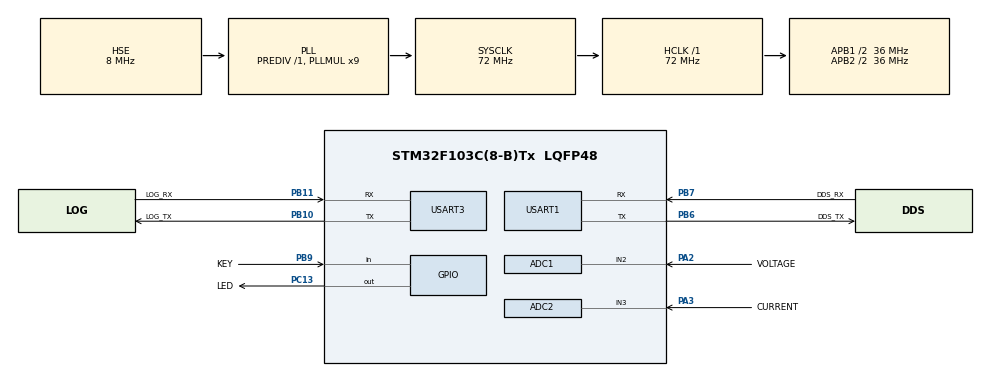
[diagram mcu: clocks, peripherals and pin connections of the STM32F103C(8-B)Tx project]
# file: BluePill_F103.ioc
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ADC1.Channel-0\#ChannelRegularConversion=ADC_CHANNEL_2
ADC1.ContinuousConvMode=ENABLE
ADC1.EnableInjectedConversion=DISABLE
ADC1.InjNumberOfConversion=0
ADC1.Mode=ADC_DUALMODE_REGSIMULT
ADC1.NbrOfConversionFlag=1
ADC1.Rank-0\#ChannelRegularConversion=1
ADC1.SamplingTime-0\#ChannelRegularConversion=ADC_SAMPLETIME_1CYCLE_5
ADC1.master=1
ADC2.Channel-1\#ChannelRegularConversion=ADC_CHANNEL_3
ADC2.ContinuousConvMode=ENABLE
ADC2.Mode=ADC_DUALMODE_REGSIMULT
ADC2.NbrOfConversionFlag=1
ADC2.Rank-1\#ChannelRegularConversion=1
ADC2.SamplingTime-1\#ChannelRegularConversion=ADC_SAMPLETIME_1CYCLE_5
Dma.ADC1.0.Direction=DMA_PERIPH_TO_MEMORY
Dma.ADC1.0.Instance=DMA1_Channel1
Dma.ADC1.0.MemDataAlignment=DMA_MDATAALIGN_WORD
Dma.ADC1.0.MemInc=DMA_MINC_ENABLE
Dma.ADC1.0.Mode=DMA_CIRCULAR
Dma.ADC1.0.PeriphDataAlignment=DMA_PDATAALIGN_WORD
Dma.ADC1.0.PeriphInc=DMA_PINC_DISABLE
Dma.ADC1.0.Priority=DMA_PRIORITY_VERY_HIGH
Dma.Request0=ADC1
Mcu.Family=STM32F1
Mcu.Name=STM32F103C(8-B)Tx
Mcu.Package=LQFP48
NVIC.DMA1_Channel1_IRQn=true\:0\:0\:false\:false\:true\:false\:true\:true
NVIC.PriorityGroup=NVIC_PRIORITYGROUP_4
PA13.Mode=Serial_Wire
PA13.Signal=SYS_JTMS-SWDIO
PA14.Mode=Serial_Wire
PA14.Signal=SYS_JTCK-SWCLK
PA2.GPIO_Label=VOLTAGE
PA2.Signal=ADCx_IN2
PA3.GPIO_Label=CURRENT
PA3.Signal=ADCx_IN3
PB10.GPIO_Label=LOG_TX
PB10.Mode=Asynchronous
PB10.Signal=USART3_TX
PB11.GPIO_Label=LOG_RX
PB11.Mode=Asynchronous
PB11.Signal=USART3_RX
PB6.GPIO_Label=DDS_TX
PB6.Mode=Asynchronous
PB6.Signal=USART1_TX
PB7.GPIO_Label=DDS_RX
PB7.Mode=Asynchronous
PB7.Signal=USART1_RX
PB9.GPIO_Label=KEY
PB9.GPIO_PuPd=GPIO_PULLUP
PB9.Signal=GPIO_Input
PC13-TAMPER-RTC.GPIO_Label=LED
PC13-TAMPER-RTC.Signal=GPIO_Output
PD0-OSC_IN.Mode=HSE-External-Oscillator
PD0-OSC_IN.Signal=RCC_OSC_IN
PD1-OSC_OUT.Mode=HSE-External-Oscillator
PD1-OSC_OUT.Signal=RCC_OSC_OUT
ProjectManager.HeapSize=0x200
ProjectManager.StackSize=0x400
ProjectManager.TargetToolchain=MDK-ARM V5.32
RCC.ADCPresc=RCC_ADCPCLK2_DIV6
RCC.AHBFreq_Value=72000000
RCC.APB1CLKDivider=RCC_HCLK_DIV2
RCC.APB1Freq_Value=36000000
RCC.APB1TimFreq_Value=72000000
RCC.APB2CLKDivider=RCC_HCLK_DIV2
RCC.APB2Freq_Value=36000000
RCC.APB2TimFreq_Value=72000000
RCC.HCLKFreq_Value=72000000
RCC.PLLMUL=RCC_PLL_MUL9
RCC.PLLSourceVirtual=RCC_PLLSOURCE_HSE
RCC.SYSCLKFreq_VALUE=72000000
RCC.SYSCLKSource=RCC_SYSCLKSOURCE_PLLCLK
RCC.USBFreq_Value=72000000
SH.ADCx_IN2.0=ADC1_IN2,IN2
SH.ADCx_IN3.0=ADC2_IN3,IN3
USART1.VirtualMode=VM_ASYNC
USART3.VirtualMode=VM_ASYNC
board=custom

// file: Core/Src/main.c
/* USER CODE BEGIN Header */
/**
  ******************************************************************************
  * @file           : main.c
  * @brief          : Main program body
  ******************************************************************************
  * @attention
  *
  * Copyright (c) 2026 STMicroelectronics.
  * All rights reserved.
  *
  * This software is licensed under terms that can be found in the LICENSE file
  * in the root directory of this software component.
  * If no LICENSE file comes with this software, it is provided AS-IS.
  *
  ******************************************************************************
  */
/* USER CODE END Header */
#include "main.h"

/* USER CODE BEGIN Includes */
#include <stdbool.h>
#include <stdio.h>
#include <string.h>
#include "../../DDS/dds.h"
/* USER CODE END Includes */

ADC_HandleTypeDef hadc1;
ADC_HandleTypeDef hadc2;
DMA_HandleTypeDef hdma_adc1;

UART_HandleTypeDef huart1;
UART_HandleTypeDef huart3;

/* USER CODE BEGIN PV */
#define AMPLITUDE   3.30 // Volt
#define FREQ_START  500
#define FREQ_STOP   200000
#define FREQ_STEP   500

#define ADC_BIG_DATA_BUF_SIZE    1000 // 4285 // 1742u // 30468u

typedef enum
{
  MODE_PGM_START,
  MODE_DDS_ON,
  MODE_ADC_COLLECTING,
  MODE_ADC_COLLECT_STOP,
  MODE_USB_TX_START,
  MODE_USB_TX,
  MODE_STOP
} work_modes_t;

// номера АЦП каналов в массиве AdcDmaDataBuf
//enum
//{
//  ADC_IN_0 = 0,
//  ADC_IN_1 = 1,
//  ADC_DATA_BUF_SIZE
//};

//typedef struct
//{
//  uint16_t data[ADC_DATA_BUF_SIZE];
//} adc_channels_array_t;

// структура массива данных
//typedef struct
//{
//  adc_channels_array_t channels[ADC_BIG_DATA_BUF_SIZE];
//  uint32_t channel_index;
//} adc_big_array_t;

uint32_t DataBuf[ADC_BIG_DATA_BUF_SIZE];

work_modes_t WorkMode;
uint32_t DataCollectTime;
//volatile uint16_t DmaData[ADC_DATA_BUF_SIZE];
//volatile adc_big_array_t AdcBigDataBuf;

bool DataCollecionIsStarted = false;
/* USER CODE END PV */

void SystemClock_Config(void);
static void MX_GPIO_Init(void);
static void MX_DMA_Init(void);
static void MX_ADC1_Init(void);
static void MX_USART1_UART_Init(void);
static void MX_USART3_UART_Init(void);
static void MX_ADC2_Init(void);
/* USER CODE BEGIN PFP */
// ----------------------------------------------------------------------------
// старт преобразования каналов АЦП
void AdcStartConversion(void)
{
  HAL_ADC_Start(&hadc2);
  HAL_ADCEx_MultiModeStart_DMA(&hadc1, DataBuf, ADC_BIG_DATA_BUF_SIZE);
//  HAL_ADC_Start_DMA(&hadc1, (uint32_t*)DmaData, ADC_DATA_BUF_SIZE);
}
// ----------------------------------------------------------------------------
// запуск заполнения массива данными
void StartDataCollection(void)
{
  if(DataCollecionIsStarted == true)
    return;

  DataCollecionIsStarted = true;
//  AdcBigDataBuf.channel_index = 0;

  DataCollectTime = HAL_GetTick();
  AdcStartConversion();
}
// ----------------------------------------------------------------------------
//void HAL_ADC_ConvHalfCpltCallback(ADC_HandleTypeDef* hadc)
//{
////  AdcStartConversion();
//  HAL_GPIO_TogglePin(GPIOA, GPIO_PIN_9);
//}
void HAL_ADC_ConvCpltCallback(ADC_HandleTypeDef *hadc)
{
  HAL_ADCEx_MultiModeStop_DMA(&hadc1);
//  HAL_ADC_Stop_DMA(&hadc1);
  if(DataCollecionIsStarted)
    AdcStartConversion();

//  AdcBigDataBuf.channels[AdcBigDataBuf.channel_index].data[0] = DmaData[0];
//  AdcBigDataBuf.channels[AdcBigDataBuf.channel_index].data[1] = DmaData[1];

//  AdcBigDataBuf.channel_index++;
//  if(AdcBigDataBuf.channel_index == ADC_BIG_DATA_BUF_SIZE)
  {
    DataCollectTime = HAL_GetTick() - DataCollectTime;
    DataCollecionIsStarted = false;
  }
  HAL_GPIO_TogglePin(GPIOA, GPIO_PIN_9);
}
// ----------------------------------------------------------------------------
void UartSendData(uint8_t *data, uint16_t len)
{
  HAL_UART_Transmit(&huart1, data, len, 100);
  HAL_Delay(200);
}
// ----------------------------------------------------------------------------
void DdsGenSetup(void)
{
  t_dds_init init;

  init.send_data = UartSendData;

  DdsInit(&init);

  DdsChannelOff(DDS_CHANNEL_1);
  DdsChannelOff(DDS_CHANNEL_2);
  DdsChannelOff(DDS_CHANNEL_3);
}
// ----------------------------------------------------------------------------
void LedSwitch(bool on)
{ HAL_GPIO_WritePin(LED_GPIO_Port, LED_Pin, (on)?(GPIO_PIN_RESET):(GPIO_PIN_SET)); }
// ----------------------------------------------------------------------------
/* USER CODE END PFP */

/* USER CODE BEGIN 0 */
#define USB_TX_BUF_SIZE    100u
/* USER CODE END 0 */

int main(void)
{

  /* USER CODE BEGIN 1 */
  char usb_tx_buf[USB_TX_BUF_SIZE];
  uint32_t usb_tx_data_index;
  uint32_t freq = FREQ_START;
  /* USER CODE END 1 */

  /* MCU Configuration--------------------------------------------------------*/

  /* Reset of all peripherals, Initializes the Flash interface and the Systick. */
  HAL_Init();

  /* Configure the system clock */
  SystemClock_Config();

  /* Initialize all configured peripherals */
  MX_GPIO_Init();
  MX_DMA_Init();
  MX_ADC1_Init();
  MX_USART1_UART_Init();
  MX_USART3_UART_Init();
  MX_ADC2_Init();
  /* USER CODE BEGIN 2 */
  DdsGenSetup();

  WorkMode = MODE_PGM_START;

  sprintf(usb_tx_buf, "Program start.\r\n");
  HAL_UART_Transmit(&huart3, (uint8_t*)usb_tx_buf, strlen(usb_tx_buf), 100);
  /* USER CODE END 2 */

  /* Infinite loop */
  /* USER CODE BEGIN WHILE */
  while(1)
  {
    switch(WorkMode)
    {
      case MODE_PGM_START:
        LedSwitch(true);
        if(HAL_GPIO_ReadPin(KEY_GPIO_Port, KEY_Pin) == GPIO_PIN_RESET)
        {
          LedSwitch(false);
          HAL_Delay(500);
          WorkMode = MODE_DDS_ON;
        }
        break;
      case MODE_DDS_ON:
          DdsChannelSetFreq(DDS_CHANNEL_1, freq);
//          DdsChannelSetAmpl(DDS_CHANNEL_1, AMPLITUDE);
          DdsChannelOn(DDS_CHANNEL_1);

          HAL_Delay(100); // ждём чтобы генератор нормально включился
          StartDataCollection();
          LedSwitch(false);
          WorkMode = MODE_ADC_COLLECTING;
        break;
      case MODE_ADC_COLLECTING:
        if(!DataCollecionIsStarted)
        {
          DdsChannelOff(DDS_CHANNEL_1);
          WorkMode = MODE_ADC_COLLECT_STOP;
        }
        break;
      case MODE_ADC_COLLECT_STOP:
        usb_tx_data_index = 0;
        LedSwitch(false);
        WorkMode = MODE_USB_TX_START;
        break;
      case MODE_USB_TX_START:
        usb_tx_data_index = 0;
        sprintf(usb_tx_buf, "{\"freq\":%d,\"data\":[", freq);
//        while( CDC_Transmit_FS((uint8_t*)usb_tx_buf, strlen(usb_tx_buf)) != USBD_OK){}
        HAL_UART_Transmit(&huart3, (uint8_t*)usb_tx_buf, strlen(usb_tx_buf), 100);
        WorkMode = MODE_USB_TX;
        break;
      case MODE_USB_TX:
        LedSwitch(true);

        if( usb_tx_data_index == 0)
        {
          sprintf(usb_tx_buf, "[%d,%d]",
            (DataBuf[usb_tx_data_index] & 0xFFFF), // AdcBigDataBuf.channels[usb_tx_data_index].data[ADC_IN_0],
            (DataBuf[usb_tx_data_index] >> 16)); // AdcBigDataBuf.channels[usb_tx_data_index].data[ADC_IN_1]);
//            AdcBigDataBuf.channels[usb_tx_data_index].data[ADC_IN_0],
//            AdcBigDataBuf.channels[usb_tx_data_index].data[ADC_IN_1]);
        }
        else
        {
          sprintf(usb_tx_buf, ",[%d,%d]",
            (DataBuf[usb_tx_data_index] & 0xFFFF),
            (DataBuf[usb_tx_data_index] >> 16));
//            AdcBigDataBuf.channels[usb_tx_data_index].data[ADC_IN_0],
//            AdcBigDataBuf.channels[usb_tx_data_index].data[ADC_IN_1]);
        }

//        while( CDC_Transmit_FS((uint8_t*)usb_tx_buf, strlen(usb_tx_buf)) != USBD_OK){}
        HAL_UART_Transmit(&huart3, (uint8_t*)usb_tx_buf, strlen(usb_tx_buf), 100);
        usb_tx_data_index++;
        if(usb_tx_data_index >= ADC_BIG_DATA_BUF_SIZE)
        {
          usb_tx_data_index = 0;

//          USBD_CDC_HandleTypeDef *hcdc = (USBD_CDC_HandleTypeDef*)hUsbDeviceFS.pClassData;
//          while(hcdc->TxState != 0) {}
          sprintf(usb_tx_buf, "]}\r\n");
//          CDC_Transmit_FS((uint8_t*)usb_tx_buf, strlen(usb_tx_buf));
          HAL_UART_Transmit(&huart3, (uint8_t*)usb_tx_buf, strlen(usb_tx_buf), 100);
          if(freq < FREQ_STOP)
          {
            freq += FREQ_STEP;
            WorkMode = MODE_DDS_ON;
          }
          else
          {
            freq = FREQ_START;
            WorkMode = MODE_STOP;
          }
        }

//        sprintf(usb_tx_buf, "{\"TIME_STAMP\":%d,\"freq\":%d,\"Ch0\":%d,\"Ch1\":%d}\r\n",
//                usb_tx_data_index,
//                freq,
//                AdcBigDataBuf.channels[usb_tx_data_index].data[ADC_IN_0],
//                AdcBigDataBuf.channels[usb_tx_data_index].data[ADC_IN_1]);
//        if( CDC_Transmit_FS((uint8_t*)usb_tx_buf, strlen(usb_tx_buf)) == USBD_OK)
//        {
//          usb_tx_data_index++;
//          if(usb_tx_data_index >= ADC_BIG_DATA_BUF_SIZE)
//          {
//            usb_tx_data_index = 0;

//            USBD_CDC_HandleTypeDef *hcdc = (USBD_CDC_HandleTypeDef*)hUsbDeviceFS.pClassData;
//            while(hcdc->TxState != 0) {}
//            sprintf(usb_tx_buf, "---------------------------------------\r\n");
//            CDC_Transmit_FS((uint8_t*)usb_tx_buf, strlen(usb_tx_buf));

//            if(freq < FREQ_STOP)
//            {
//              freq += FREQ_STEP;
//              WorkMode = MODE_DDS_ON;
//            }
//            else
//            {
//              freq = FREQ_START;
//              WorkMode = MODE_STOP;
//            }
//          }
//        }
        break;
      case MODE_STOP:
        WorkMode = MODE_PGM_START;
        break;
      default:
        WorkMode = MODE_PGM_START;
        break;
    }

    /* USER CODE END WHILE */

  }
}

void SystemClock_Config(void)
{
  RCC_OscInitTypeDef RCC_OscInitStruct = {0};
  RCC_ClkInitTypeDef RCC_ClkInitStruct = {0};
  RCC_PeriphCLKInitTypeDef PeriphClkInit = {0};

  /** Initializes the RCC Oscillators according to the specified parameters
  * in the RCC_OscInitTypeDef structure.
  */
  RCC_OscInitStruct.OscillatorType = RCC_OSCILLATORTYPE_HSE;
  RCC_OscInitStruct.HSEState = RCC_HSE_ON;
  RCC_OscInitStruct.HSEPredivValue = RCC_HSE_PREDIV_DIV1;
  RCC_OscInitStruct.HSIState = RCC_HSI_ON;
  RCC_OscInitStruct.PLL.PLLState = RCC_PLL_ON;
  RCC_OscInitStruct.PLL.PLLSource = RCC_PLLSOURCE_HSE;
  RCC_OscInitStruct.PLL.PLLMUL = RCC_PLL_MUL9;
  if (HAL_RCC_OscConfig(&RCC_OscInitStruct) != HAL_OK)
  {
    Error_Handler();
  }

  /** Initializes the CPU, AHB and APB buses clocks
  */
  RCC_ClkInitStruct.ClockType = RCC_CLOCKTYPE_HCLK|RCC_CLOCKTYPE_SYSCLK
                              |RCC_CLOCKTYPE_PCLK1|RCC_CLOCKTYPE_PCLK2;
  RCC_ClkInitStruct.SYSCLKSource = RCC_SYSCLKSOURCE_PLLCLK;
  RCC_ClkInitStruct.AHBCLKDivider = RCC_SYSCLK_DIV1;
  RCC_ClkInitStruct.APB1CLKDivider = RCC_HCLK_DIV2;
  RCC_ClkInitStruct.APB2CLKDivider = RCC_HCLK_DIV2;

  if (HAL_RCC_ClockConfig(&RCC_ClkInitStruct, FLASH_LATENCY_2) != HAL_OK)
  {
    Error_Handler();
  }
  PeriphClkInit.PeriphClockSelection = RCC_PERIPHCLK_ADC;
  PeriphClkInit.AdcClockSelection = RCC_ADCPCLK2_DIV6;
  if (HAL_RCCEx_PeriphCLKConfig(&PeriphClkInit) != HAL_OK)
  {
    Error_Handler();
  }
}

static void MX_ADC1_Init(void)
{

  ADC_MultiModeTypeDef multimode = {0};
  ADC_ChannelConfTypeDef sConfig = {0};

  /** Common config
  */
  hadc1.Instance = ADC1;
  hadc1.Init.ScanConvMode = ADC_SCAN_DISABLE;
  hadc1.Init.ContinuousConvMode = ENABLE;
  hadc1.Init.DiscontinuousConvMode = DISABLE;
  hadc1.Init.ExternalTrigConv = ADC_SOFTWARE_START;
  hadc1.Init.DataAlign = ADC_DATAALIGN_RIGHT;
  hadc1.Init.NbrOfConversion = 1;
  if (HAL_ADC_Init(&hadc1) != HAL_OK)
  {
    Error_Handler();
  }

  /** Configure the ADC multi-mode
  */
  multimode.Mode = ADC_DUALMODE_REGSIMULT;
  if (HAL_ADCEx_MultiModeConfigChannel(&hadc1, &multimode) != HAL_OK)
  {
    Error_Handler();
  }

  /** Configure Regular Channel
  */
  sConfig.Channel = ADC_CHANNEL_2;
  sConfig.Rank = ADC_REGULAR_RANK_1;
  sConfig.SamplingTime = ADC_SAMPLETIME_1CYCLE_5;
  if (HAL_ADC_ConfigChannel(&hadc1, &sConfig) != HAL_OK)
  {
    Error_Handler();
  }

}

static void MX_ADC2_Init(void)
{

  ADC_ChannelConfTypeDef sConfig = {0};

  /** Common config
  */
  hadc2.Instance = ADC2;
  hadc2.Init.ScanConvMode = ADC_SCAN_DISABLE;
  hadc2.Init.ContinuousConvMode = ENABLE;
  hadc2.Init.DiscontinuousConvMode = DISABLE;
  hadc2.Init.ExternalTrigConv = ADC_SOFTWARE_START;
  hadc2.Init.DataAlign = ADC_DATAALIGN_RIGHT;
  hadc2.Init.NbrOfConversion = 1;
  if (HAL_ADC_Init(&hadc2) != HAL_OK)
  {
    Error_Handler();
  }

  /** Configure Regular Channel
  */
  sConfig.Channel = ADC_CHANNEL_3;
  sConfig.Rank = ADC_REGULAR_RANK_1;
  sConfig.SamplingTime = ADC_SAMPLETIME_1CYCLE_5;
  if (HAL_ADC_ConfigChannel(&hadc2, &sConfig) != HAL_OK)
  {
    Error_Handler();
  }

}

static void MX_USART1_UART_Init(void)
{

  huart1.Instance = USART1;
  huart1.Init.BaudRate = 115200;
  huart1.Init.WordLength = UART_WORDLENGTH_8B;
  huart1.Init.StopBits = UART_STOPBITS_1;
  huart1.Init.Parity = UART_PARITY_NONE;
  huart1.Init.Mode = UART_MODE_TX_RX;
  huart1.Init.HwFlowCtl = UART_HWCONTROL_NONE;
  huart1.Init.OverSampling = UART_OVERSAMPLING_16;
  if (HAL_UART_Init(&huart1) != HAL_OK)
  {
    Error_Handler();
  }

}

static void MX_USART3_UART_Init(void)
{

  huart3.Instance = USART3;
  huart3.Init.BaudRate = 115200;
  huart3.Init.WordLength = UART_WORDLENGTH_8B;
  huart3.Init.StopBits = UART_STOPBITS_1;
  huart3.Init.Parity = UART_PARITY_NONE;
  huart3.Init.Mode = UART_MODE_TX_RX;
  huart3.Init.HwFlowCtl = UART_HWCONTROL_NONE;
  huart3.Init.OverSampling = UART_OVERSAMPLING_16;
  if (HAL_UART_Init(&huart3) != HAL_OK)
  {
    Error_Handler();
  }

}

static void MX_DMA_Init(void)
{

  /* DMA controller clock enable */
  __HAL_RCC_DMA1_CLK_ENABLE();

  /* DMA interrupt init */
  /* DMA1_Channel1_IRQn interrupt configuration */
  HAL_NVIC_SetPriority(DMA1_Channel1_IRQn, 0, 0);
  HAL_NVIC_EnableIRQ(DMA1_Channel1_IRQn);

}

static void MX_GPIO_Init(void)
{
  GPIO_InitTypeDef GPIO_InitStruct = {0};

  /* GPIO Ports Clock Enable */
  __HAL_RCC_GPIOC_CLK_ENABLE();
  __HAL_RCC_GPIOD_CLK_ENABLE();
  __HAL_RCC_GPIOA_CLK_ENABLE();
  __HAL_RCC_GPIOB_CLK_ENABLE();

  /*Configure GPIO pin Output Level */
  HAL_GPIO_WritePin(LED_GPIO_Port, LED_Pin, GPIO_PIN_RESET);

  /*Configure GPIO pin : LED_Pin */
  GPIO_InitStruct.Pin = LED_Pin;
  GPIO_InitStruct.Mode = GPIO_MODE_OUTPUT_PP;
  GPIO_InitStruct.Pull = GPIO_NOPULL;
  GPIO_InitStruct.Speed = GPIO_SPEED_FREQ_LOW;
  HAL_GPIO_Init(LED_GPIO_Port, &GPIO_InitStruct);

  /*Configure GPIO pin : KEY_Pin */
  GPIO_InitStruct.Pin = KEY_Pin;
  GPIO_InitStruct.Mode = GPIO_MODE_INPUT;
  GPIO_InitStruct.Pull = GPIO_PULLUP;
  HAL_GPIO_Init(KEY_GPIO_Port, &GPIO_InitStruct);

}

void Error_Handler(void)
{
  __disable_irq();
  while (1)
  {
  }
}
